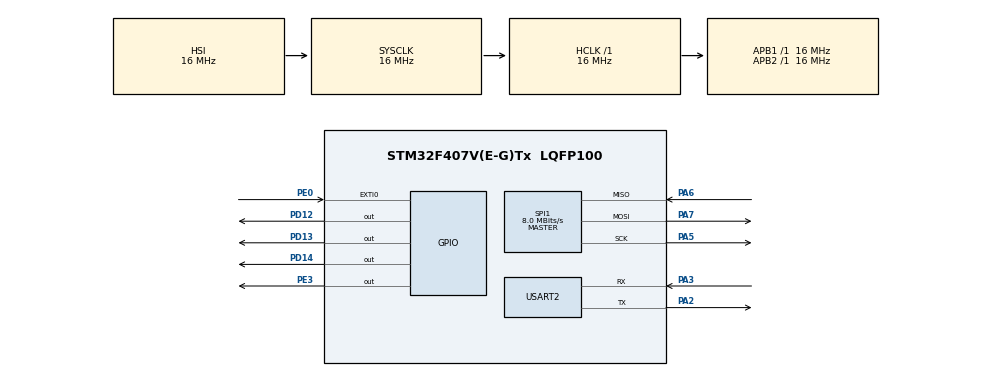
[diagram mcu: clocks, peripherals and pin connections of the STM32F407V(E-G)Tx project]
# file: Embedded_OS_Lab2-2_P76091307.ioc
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Mcu.Family=STM32F4
Mcu.Name=STM32F407V(E-G)Tx
Mcu.Package=LQFP100
NVIC.EXTI0_IRQn=true\:6\:0\:true\:false\:true\:true\:true
NVIC.PriorityGroup=NVIC_PRIORITYGROUP_4
NVIC.TIM7_IRQn=true\:0\:0\:false\:false\:true\:false\:true
NVIC.TimeBase=TIM7_IRQn
NVIC.TimeBaseIP=TIM7
PA13.Mode=Serial_Wire
PA13.Signal=SYS_JTMS-SWDIO
PA14.Mode=Serial_Wire
PA14.Signal=SYS_JTCK-SWCLK
PA2.Mode=Asynchronous
PA2.Signal=USART2_TX
PA3.Mode=Asynchronous
PA3.Signal=USART2_RX
PA5.Mode=Full_Duplex_Master
PA5.Signal=SPI1_SCK
PA6.Mode=Full_Duplex_Master
PA6.Signal=SPI1_MISO
PA7.Mode=Full_Duplex_Master
PA7.Signal=SPI1_MOSI
PD12.Signal=GPIO_Output
PD13.Signal=GPIO_Output
PD14.Signal=GPIO_Output
PE0.Signal=GPXTI0
PE3.Signal=GPIO_Output
ProjectManager.HeapSize=0x200
ProjectManager.StackSize=0x400
ProjectManager.TargetToolchain=STM32CubeIDE
RCC.AHBFreq_Value=16000000
RCC.APB1Freq_Value=16000000
RCC.APB2Freq_Value=16000000
RCC.CortexFreq_Value=16000000
RCC.HSE_VALUE=25000000
RCC.HSI_VALUE=16000000
RCC.LSE_VALUE=32768
RCC.SYSCLKFreq_VALUE=16000000
RCC.VCOOutputFreq_Value=192000000
SPI1.CalculateBaudRate=8.0 MBits/s
SPI1.Direction=SPI_DIRECTION_2LINES
SPI1.Mode=SPI_MODE_MASTER
SPI1.VirtualType=VM_MASTER
USART2.VirtualMode=VM_ASYNC
VP_SYS_VS_tim7.Mode=TIM7
board=custom

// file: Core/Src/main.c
/* USER CODE BEGIN Header */
/**
  ******************************************************************************
  * @file           : main.c
  * @brief          : Main program body
  ******************************************************************************
  * @attention
  *
  * <h2><center>&copy; Copyright (c) 2021 STMicroelectronics.
  * All rights reserved.</center></h2>
  *
  * This software component is licensed by ST under BSD 3-Clause license,
  * the "License"; You may not use this file except in compliance with the
  * License. You may obtain a copy of the License at:
  *                        opensource.org/licenses/BSD-3-Clause
  *
  ******************************************************************************
  */
/* USER CODE END Header */
#include "main.h"

/* USER CODE BEGIN Includes */
#include "FreeRTOS.h"
#include "FreeRTOSConfig.h"
#include "task.h"
#include "stream_buffer.h"
#include "semphr.h"
/* USER CODE END Includes */

/* USER CODE BEGIN PD */
#define sbiSTREAM_BUFFER_LENGTH_BYTES		( ( size_t ) 100 )
#define sbiSTREAM_BUFFER_TRIGGER_LEVEL_10	( ( BaseType_t ) 10 )
/* A block time of 0 simply means, don't block. */
#define mbaDONT_BLOCK				0
/* USER CODE END PD */

/* USER CODE BEGIN PM */
#define LIS3DSH_WHO_AM_I_ADDR                0x0F
#define LIS3DSH_STAT_ADDR                    0x18
#define LIS3DSH_CTRL_REG4_ADDR               0x20
#define LIS3DSH_CTRL_REG1_ADDR               0x21
#define LIS3DSH_CTRL_REG2_ADDR               0x22
#define LIS3DSH_CTRL_REG3_ADDR               0x23
#define LIS3DSH_CTRL_REG5_ADDR               0x24
#define LIS3DSH_CTRL_REG6_ADDR               0x25

#define LIS3DSH_STATUS_ADDR                  0x27

#define LIS3DSH_OUT_X_L_ADDR                 0x28
#define LIS3DSH_OUT_X_H_ADDR                 0x29
#define LIS3DSH_OUT_Y_L_ADDR                 0x2A
#define LIS3DSH_OUT_Y_H_ADDR                 0x2B
#define LIS3DSH_OUT_Z_L_ADDR                 0x2C
#define LIS3DSH_OUT_Z_H_ADDR                 0x2D

#define LIS3DSH_ST1_1_ADDR                   0x40
#define LIS3DSH_ST1_2_ADDR                   0x41
#define LIS3DSH_THRS1_1_ADDR                 0x57
#define LIS3DSH_MASK1_B_ADDR                 0x59
#define LIS3DSH_MASK1_A_ADDR                 0x5A
#define LIS3DSH_SETT1_ADDR                   0x5B
/* USER CODE END PM */

SPI_HandleTypeDef hspi1;

UART_HandleTypeDef huart2;

/* The stream buffer that is used to send data from an interrupt to the task. */
static StreamBufferHandle_t xStreamBuffer = NULL;
static StreamBufferHandle_t xStreamBuffer2 = NULL;

static const char * pcStringToSend = "ISR to handler\r\n";
static const char * pcStringToSend2 = "handler to task\r\n";

char cRxBuffer[ 100 ];
char cRxBuffer2 [100];

size_t ret = 0;

/* USER CODE BEGIN PV */
SemaphoreHandle_t xSemaphore;
SemaphoreHandle_t xSemaphore2;

/* USER CODE END PV */

void SystemClock_Config(void);
static void MX_GPIO_Init(void);
static void MX_SPI1_Init(void);
static void MX_USART2_UART_Init(void);
void green_blink(void);
void orange_blink(void);
void sender(void);
void func1();
void func2();

/* USER CODE BEGIN 0 */
void MEMS_Write(uint8_t address,uint8_t data){
	HAL_GPIO_WritePin(GPIOE, GPIO_PIN_3, GPIO_PIN_RESET);
	HAL_SPI_Transmit(&hspi1,&address,1,10);
	HAL_SPI_Transmit(&hspi1,&data,1,10);
	HAL_GPIO_WritePin(GPIOE, GPIO_PIN_3,GPIO_PIN_SET);
}
void MEMS_Read(uint8_t address,uint8_t *data){
    address |= 0x80;
	HAL_GPIO_WritePin(GPIOE,GPIO_PIN_3,GPIO_PIN_RESET);
	HAL_SPI_Transmit(&hspi1,&address,1,10);
	HAL_SPI_Receive(&hspi1,data,1,10);
	HAL_GPIO_WritePin(GPIOE,GPIO_PIN_3,GPIO_PIN_SET);
}
void MEMS_init(){
	MEMS_Write(0x21, 0x01);
	MEMS_Write(0x23, 0x48);
	MEMS_Write(0x20, 0x67);
	MEMS_Write(0x24, 0x00);
	MEMS_Write(0x57, 0x55);
	MEMS_Write(0x40, 0x05);
	MEMS_Write(0x41, 0x11);
	MEMS_Write(0x59, 0xFC);
	MEMS_Write(0x5A, 0xFC);
	MEMS_Write(0x5B, 0x01);
}

/* USER CODE END 0 */

int main(void)
{
  /* USER CODE BEGIN 1 */
	uint8_t data;
  /* USER CODE END 1 */

  /* MCU Configuration--------------------------------------------------------*/

  /* Reset of all peripherals, Initializes the Flash interface and the Systick. */
  HAL_Init();

  /* Configure the system clock */
  SystemClock_Config();

  /* Initialize all configured peripherals */
  MX_GPIO_Init();
  MX_SPI1_Init();
  MX_USART2_UART_Init();
  /* USER CODE BEGIN 2 */
  MEMS_init();
	/* Create the stream buffer that sends data from the interrupt to the
	task, and create the task. */
	xStreamBuffer = xStreamBufferCreate( /* The buffer length in bytes. */
										 sbiSTREAM_BUFFER_LENGTH_BYTES,
										 /* The stream buffer's trigger level. */
										 sbiSTREAM_BUFFER_TRIGGER_LEVEL_10,func1);
	xStreamBuffer2 = xStreamBufferCreate( /* The buffer length in bytes. */
											 sbiSTREAM_BUFFER_LENGTH_BYTES,
											 /* The stream buffer's trigger level. */
											 sbiSTREAM_BUFFER_TRIGGER_LEVEL_10,func2 );
  xSemaphore = xSemaphoreCreateBinary();
  //xTaskCreate(green_blink,"task1",1024,(void *)1,1,NULL);
  xTaskCreate(sender,"task3",1024,(void *)1,3,NULL);
  xTaskCreate(orange_blink,"task2",1024,(void *)1,2,NULL);
  vTaskStartScheduler();
  /* USER CODE END 2 */

  /* Infinite loop */
  while (1)
  {

  }
}

void SystemClock_Config(void)
{
  RCC_OscInitTypeDef RCC_OscInitStruct = {0};
  RCC_ClkInitTypeDef RCC_ClkInitStruct = {0};

  /** Configure the main internal regulator output voltage
  */
  __HAL_RCC_PWR_CLK_ENABLE();
  __HAL_PWR_VOLTAGESCALING_CONFIG(PWR_REGULATOR_VOLTAGE_SCALE1);
  /** Initializes the RCC Oscillators according to the specified parameters
  * in the RCC_OscInitTypeDef structure.
  */
  RCC_OscInitStruct.OscillatorType = RCC_OSCILLATORTYPE_HSI;
  RCC_OscInitStruct.HSIState = RCC_HSI_ON;
  RCC_OscInitStruct.HSICalibrationValue = RCC_HSICALIBRATION_DEFAULT;
  RCC_OscInitStruct.PLL.PLLState = RCC_PLL_NONE;
  if (HAL_RCC_OscConfig(&RCC_OscInitStruct) != HAL_OK)
  {
    Error_Handler();
  }
  /** Initializes the CPU, AHB and APB buses clocks
  */
  RCC_ClkInitStruct.ClockType = RCC_CLOCKTYPE_HCLK|RCC_CLOCKTYPE_SYSCLK
                              |RCC_CLOCKTYPE_PCLK1|RCC_CLOCKTYPE_PCLK2;
  RCC_ClkInitStruct.SYSCLKSource = RCC_SYSCLKSOURCE_HSI;
  RCC_ClkInitStruct.AHBCLKDivider = RCC_SYSCLK_DIV1;
  RCC_ClkInitStruct.APB1CLKDivider = RCC_HCLK_DIV1;
  RCC_ClkInitStruct.APB2CLKDivider = RCC_HCLK_DIV1;

  if (HAL_RCC_ClockConfig(&RCC_ClkInitStruct, FLASH_LATENCY_0) != HAL_OK)
  {
    Error_Handler();
  }
}

static void MX_SPI1_Init(void)
{

  /* SPI1 parameter configuration*/
  hspi1.Instance = SPI1;
  hspi1.Init.Mode = SPI_MODE_MASTER;
  hspi1.Init.Direction = SPI_DIRECTION_2LINES;
  hspi1.Init.DataSize = SPI_DATASIZE_8BIT;
  hspi1.Init.CLKPolarity = SPI_POLARITY_LOW;
  hspi1.Init.CLKPhase = SPI_PHASE_1EDGE;
  hspi1.Init.NSS = SPI_NSS_SOFT;
  hspi1.Init.BaudRatePrescaler = SPI_BAUDRATEPRESCALER_2;
  hspi1.Init.FirstBit = SPI_FIRSTBIT_MSB;
  hspi1.Init.TIMode = SPI_TIMODE_DISABLE;
  hspi1.Init.CRCCalculation = SPI_CRCCALCULATION_DISABLE;
  hspi1.Init.CRCPolynomial = 10;
  if (HAL_SPI_Init(&hspi1) != HAL_OK)
  {
    Error_Handler();
  }

}

static void MX_USART2_UART_Init(void)
{

  huart2.Instance = USART2;
  huart2.Init.BaudRate = 115200;
  huart2.Init.WordLength = UART_WORDLENGTH_8B;
  huart2.Init.StopBits = UART_STOPBITS_1;
  huart2.Init.Parity = UART_PARITY_NONE;
  huart2.Init.Mode = UART_MODE_TX_RX;
  huart2.Init.HwFlowCtl = UART_HWCONTROL_NONE;
  huart2.Init.OverSampling = UART_OVERSAMPLING_16;
  if (HAL_UART_Init(&huart2) != HAL_OK)
  {
    Error_Handler();
  }

}

static void MX_GPIO_Init(void)
{
  GPIO_InitTypeDef GPIO_InitStruct = {0};

  /* GPIO Ports Clock Enable */
  __HAL_RCC_GPIOE_CLK_ENABLE();
  __HAL_RCC_GPIOA_CLK_ENABLE();
  __HAL_RCC_GPIOD_CLK_ENABLE();

  /*Configure GPIO pin Output Level */
  HAL_GPIO_WritePin(GPIOE, GPIO_PIN_3, GPIO_PIN_RESET);

  /*Configure GPIO pin Output Level */
  HAL_GPIO_WritePin(GPIOD, GPIO_PIN_12|GPIO_PIN_13|GPIO_PIN_14, GPIO_PIN_RESET);

  /*Configure GPIO pin : PE3 */
  GPIO_InitStruct.Pin = GPIO_PIN_3;
  GPIO_InitStruct.Mode = GPIO_MODE_OUTPUT_PP;
  GPIO_InitStruct.Pull = GPIO_NOPULL;
  GPIO_InitStruct.Speed = GPIO_SPEED_FREQ_LOW;
  HAL_GPIO_Init(GPIOE, &GPIO_InitStruct);

  /*Configure GPIO pins : PD12 PD13 PD14 */
  GPIO_InitStruct.Pin = GPIO_PIN_12|GPIO_PIN_13|GPIO_PIN_14;
  GPIO_InitStruct.Mode = GPIO_MODE_OUTPUT_PP;
  GPIO_InitStruct.Pull = GPIO_NOPULL;
  GPIO_InitStruct.Speed = GPIO_SPEED_FREQ_LOW;
  HAL_GPIO_Init(GPIOD, &GPIO_InitStruct);

  /*Configure GPIO pin : PE0 */
  GPIO_InitStruct.Pin = GPIO_PIN_0;
  GPIO_InitStruct.Mode = GPIO_MODE_IT_RISING;
  GPIO_InitStruct.Pull = GPIO_NOPULL;
  HAL_GPIO_Init(GPIOE, &GPIO_InitStruct);

  /* EXTI interrupt init*/
  HAL_NVIC_SetPriority(EXTI0_IRQn, 6, 0);
  HAL_NVIC_EnableIRQ(EXTI0_IRQn);

}

/* USER CODE BEGIN 4 */
void sender()
{
	for(;;)
	{
		xSemaphoreTake(xSemaphore,portMAX_DELAY);   //ISR notify it and it send data via stream buffer1
		const TickType_t x100ms = pdMS_TO_TICKS( 100 );
		xStreamBufferSend(xStreamBuffer,( const void * ) pcStringToSend2,  strlen(pcStringToSend)*4,x100ms);
		//xSemaphoreGive(xSemaphore2);
	}
}
void green_blink()
{
	for(;;)
	{
		if(ret > 0){
			xStreamBufferReceive(
								  xStreamBuffer2,
								  ( void * ) &( cRxBuffer2[ 0 ]) ,
								  sizeof( char )*100,
								  portMAX_DELAY );
			HAL_UART_Transmit(&huart2,(uint8_t*)cRxBuffer2,strlen(cRxBuffer2),0xffff);
			ret = 0;
		}
	  HAL_GPIO_TogglePin(GPIOD, GPIO_PIN_12);
	  vTaskDelay(1000);
	}
}
void orange_blink()   //handler
{
	 int count=0;
	 for(;;)                         //interrupt is disabled until we execute MEMS_READ
	 {
		  //xSemaphoreTake(xSemaphore2,portMAX_DELAY);
		  int8_t data;
		  BaseType_t xNextByte = 0;
		  const TickType_t x100ms = pdMS_TO_TICKS( 100 );
		  //ret = xStreamBufferReceive( /* The stream buffer data is being received from. */
			//					  xStreamBuffer,
		//						  /* Where to place received data. */
	//							  ( void * ) &( cRxBuffer[ xNextByte ] ),
		//						  /* The number of bytes to receive. */
		//						  sizeof( char )*100,
								  /* The time to wait for the next data if the buffer
								  is empty. */
		//						  portMAX_DELAY );

		  //HAL_UART_Transmit(&huart2,(uint8_t*)cRxBuffer,strlen(cRxBuffer),0xffff);
		  if(count == 0){
			  xStreamBufferSend(xStreamBuffer2,( const void * ) pcStringToSend2,  strlen(pcStringToSend)*4,x100ms);
			  count++;
		  }
		  int i=0;
		  for(i = 0;i<3;i++)
		  {
			HAL_GPIO_WritePin(GPIOD,GPIO_PIN_13,GPIO_PIN_SET);
			vTaskDelay(1000);
			HAL_GPIO_WritePin(GPIOD,GPIO_PIN_13,GPIO_PIN_RESET);
			vTaskDelay(1000);
		  }
		  MEMS_Read(0x5f,&data);                          //reset the register(enable interrupt)
	 }

 }
void HAL_GPIO_EXTI_Callback(uint16_t GPIO_Pin)   //ISR function
{

       static portBASE_TYPE xHigherPriorityTaskWoken;
       xHigherPriorityTaskWoken=pdFALSE;
       if(HAL_GPIO_ReadPin(GPIOD,GPIO_PIN_14))
       {
           HAL_GPIO_WritePin(GPIOD,GPIO_PIN_14,GPIO_PIN_RESET);
       }
       else
       {
           HAL_GPIO_WritePin(GPIOD,GPIO_PIN_14,GPIO_PIN_SET);
       }
       //if(xStreamBufferSendFromISR( xStreamBuffer,( const void * )pcStringToSend,strlen(pcStringToSend)*4,NULL ) > 0){//xSemaphoreGiveFromISR(xSemaphore, &xHigherPriorityTaskWoken) == pdTRUE){
    	//   HAL_GPIO_WritePin(GPIOD,GPIO_PIN_12,GPIO_PIN_RESET);
       //}
       xSemaphoreGiveFromISR(xSemaphore, &xHigherPriorityTaskWoken);
       portYIELD_FROM_ISR(xHigherPriorityTaskWoken);

}
void func1()
{
	char msg[30];
		memset(msg,'\0',sizeof(msg));
		sprintf(msg,"buffer1callback\n\r");
		HAL_UART_Transmit(&huart2,(uint8_t*)msg,strlen(msg),0xffff);
}
void func2()
{
	char msg[30];
		memset(msg,'\0',sizeof(msg));
		sprintf(msg,"buffer2callback\n\r");
		HAL_UART_Transmit(&huart2,(uint8_t*)msg,strlen(msg),0xffff);
}
void vGenerateCoreBInterrupt( void * xUpdatedMessageBuffer )
{
	char msg[30];
	memset(msg,'\0',sizeof(msg));
	sprintf(msg,"sbSEND_COMPLETED\n\r");
	HAL_UART_Transmit(&huart2,(uint8_t*)msg,strlen(msg),0xffff);
}
/* USER CODE END 4 */

 /**
  * @brief  Period elapsed callback in non blocking mode
  * @note   This function is called  when TIM7 interrupt took place, inside
  * HAL_TIM_IRQHandler(). It makes a direct call to HAL_IncTick() to increment
  * a global variable "uwTick" used as application time base.
  * @param  htim : TIM handle
  * @retval None
  */
void HAL_TIM_PeriodElapsedCallback(TIM_HandleTypeDef *htim)
{
  if (htim->Instance == TIM7) {
    HAL_IncTick();
  }
}

void Error_Handler(void)
{
  __disable_irq();
  while (1)
  {
  }
}

/************************ (C) COPYRIGHT STMicroelectronics *****END OF FILE****/
